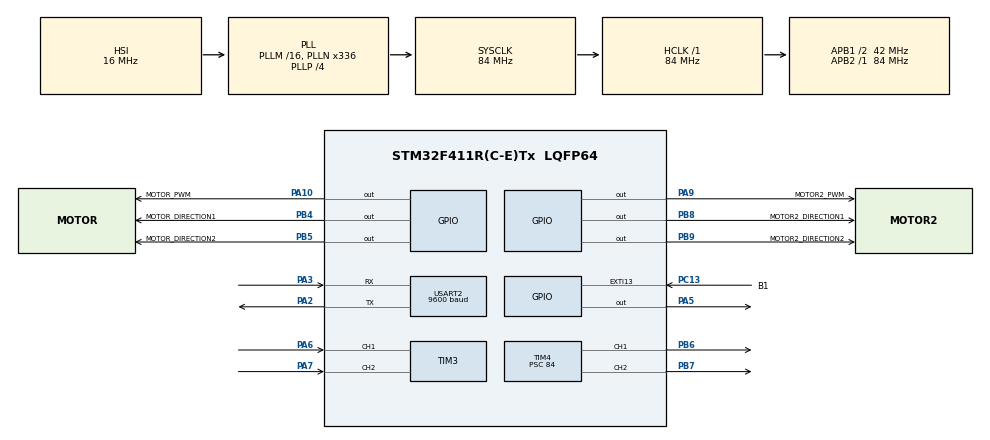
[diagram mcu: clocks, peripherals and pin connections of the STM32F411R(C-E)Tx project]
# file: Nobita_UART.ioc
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Dma.Request0=USART2_RX
Dma.USART2_RX.0.Direction=DMA_PERIPH_TO_MEMORY
Dma.USART2_RX.0.FIFOMode=DMA_FIFOMODE_DISABLE
Dma.USART2_RX.0.Instance=DMA1_Stream5
Dma.USART2_RX.0.MemDataAlignment=DMA_MDATAALIGN_BYTE
Dma.USART2_RX.0.MemInc=DMA_MINC_ENABLE
Dma.USART2_RX.0.Mode=DMA_CIRCULAR
Dma.USART2_RX.0.PeriphDataAlignment=DMA_PDATAALIGN_BYTE
Dma.USART2_RX.0.PeriphInc=DMA_PINC_DISABLE
Dma.USART2_RX.0.Priority=DMA_PRIORITY_LOW
Mcu.Family=STM32F4
Mcu.Name=STM32F411R(C-E)Tx
Mcu.Package=LQFP64
NVIC.DMA1_Stream5_IRQn=true\:0\:0\:false\:false\:true\:false\:true
NVIC.EXTI15_10_IRQn=true\:0\:0\:false\:false\:true\:true\:true
NVIC.PriorityGroup=NVIC_PRIORITYGROUP_4
NVIC.TIM1_UP_TIM10_IRQn=true\:0\:0\:false\:false\:true\:true\:true
NVIC.USART2_IRQn=true\:0\:0\:false\:false\:true\:true\:true
PA10.GPIO_Label=MOTOR_PWM
PA10.Signal=GPIO_Output
PA13.GPIO_Label=TMS
PA13.Signal=SYS_JTMS-SWDIO
PA14.GPIO_Label=TCK
PA14.Signal=SYS_JTCK-SWCLK
PA2.Mode=Asynchronous
PA2.Signal=USART2_TX
PA3.Mode=Asynchronous
PA3.Signal=USART2_RX
PA5.Signal=GPIO_Output
PA6.GPIO_PuPd=GPIO_PULLUP
PA6.Signal=S_TIM3_CH1
PA7.GPIO_PuPd=GPIO_PULLUP
PA7.Signal=S_TIM3_CH2
PA9.GPIO_Label=MOTOR2_PWM
PA9.Signal=GPIO_Output
PB3.GPIO_Label=SWO
PB3.Signal=SYS_JTDO-SWO
PB4.GPIO_Label=MOTOR_DIRECTION1
PB4.Signal=GPIO_Output
PB5.GPIO_Label=MOTOR_DIRECTION2
PB5.Signal=GPIO_Output
PB6.Signal=S_TIM4_CH1
PB7.Signal=S_TIM4_CH2
PB8.GPIO_Label=MOTOR2_DIRECTION1
PB8.Signal=GPIO_Output
PB9.GPIO_Label=MOTOR2_DIRECTION2
PB9.Signal=GPIO_Output
PC13-ANTI_TAMP.GPIO_Label=B1
PC13-ANTI_TAMP.Signal=GPXTI13
PC14-OSC32_IN.Mode=LSE-External-Oscillator
PC14-OSC32_IN.Signal=RCC_OSC32_IN
PC15-OSC32_OUT.Mode=LSE-External-Oscillator
PC15-OSC32_OUT.Signal=RCC_OSC32_OUT
PH0\ -\ OSC_IN.Mode=HSE-External-Clock-Source
PH0\ -\ OSC_IN.Signal=RCC_OSC_IN
PH1\ -\ OSC_OUT.Mode=HSE-External-Clock-Source
PH1\ -\ OSC_OUT.Signal=RCC_OSC_OUT
ProjectManager.HeapSize=0x200
ProjectManager.StackSize=0x400
ProjectManager.TargetToolchain=STM32CubeIDE
RCC.48MHZClocksFreq_Value=84000000
RCC.AHBFreq_Value=84000000
RCC.APB1CLKDivider=RCC_HCLK_DIV2
RCC.APB1Freq_Value=42000000
RCC.APB1TimFreq_Value=84000000
RCC.APB2Freq_Value=84000000
RCC.APB2TimFreq_Value=84000000
RCC.CortexFreq_Value=84000000
RCC.HCLKFreq_Value=84000000
RCC.HSE_VALUE=8000000
RCC.HSI_VALUE=16000000
RCC.PLLN=336
RCC.PLLP=RCC_PLLP_DIV4
RCC.SYSCLKFreq_VALUE=84000000
RCC.SYSCLKSource=RCC_SYSCLKSOURCE_PLLCLK
RCC.VCOOutputFreq_Value=336000000
SH.S_TIM3_CH1.0=TIM3_CH1,Encoder_Interface
SH.S_TIM3_CH2.0=TIM3_CH2,Encoder_Interface
SH.S_TIM4_CH1.0=TIM4_CH1,PWM Generation1 CH1
SH.S_TIM4_CH2.0=TIM4_CH2,PWM Generation2 CH2
TIM1.Period=1000
TIM1.Prescaler=84
TIM4.AutoReloadPreload=TIM_AUTORELOAD_PRELOAD_DISABLE
TIM4.Channel-PWM\ Generation1\ CH1=TIM_CHANNEL_1
TIM4.Channel-PWM\ Generation2\ CH2=TIM_CHANNEL_2
TIM4.Period=1000
TIM4.Prescaler=84
USART2.BaudRate=9600
USART2.VirtualMode=VM_ASYNC
VP_TIM1_VS_ClockSourceINT.Mode=Internal
board=custom

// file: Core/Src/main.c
/* USER CODE BEGIN Header */
/**
  ******************************************************************************
  * @file           : main.c
  * @brief          : Main program body
  ******************************************************************************
  * @attention
  *
  * <h2><center>&copy; Copyright (c) 2020 STMicroelectronics.
  * All rights reserved.</center></h2>
  *
  * This software component is licensed by ST under BSD 3-Clause license,
  * the "License"; You may not use this file except in compliance with the
  * License. You may obtain a copy of the License at:
  *                        opensource.org/licenses/BSD-3-Clause
  *
  ******************************************************************************
  */
/*
 * MOTOR_PWM = PA10 = D2
 * MOTOR_PWM2 = PA9 = D8
 * MOTOR_DIRECTION1 = PB4 = D5
 * MOTOR_DIRECTION2 = PB5 = D4
 * MOTOR2_DIRECTION1 = PB8 = D15
 * MOTOR2_DIRECTION2 = PB9 = D14
 * TIM4_CH1 = PB6 = D12
 * TIM4_CH2 = PB7 = D11
 * TIM2_CH1 = PA0 =
 * TIM2_CH2 = PA1 =
 */
/* USER CODE END Header */
#include "main.h"
#include <stdio.h>

TIM_HandleTypeDef htim1;
TIM_HandleTypeDef htim3;
TIM_HandleTypeDef htim4;

UART_HandleTypeDef huart2;
DMA_HandleTypeDef hdma_usart2_rx;

/* USER CODE BEGIN PV */
uint8_t direction_l = 1;
uint8_t direction_r = 0;

/* USER CODE END PV */

void SystemClock_Config(void);
static void MX_GPIO_Init(void);
static void MX_DMA_Init(void);
static void MX_TIM4_Init(void);
static void MX_TIM3_Init(void);
static void MX_USART2_UART_Init(void);
static void MX_TIM1_Init(void);

/* USER CODE BEGIN 0 */
uint8_t myTxData[4] = "OK\r\n";
uint8_t myRxData[16];
uint8_t testRxData[27]; // 21+\r+\n
//int RxSize = sizeof(testRxData) / sizeof(testRxData[0]);
int i = 0;
char buffer[50];
float wl,wr,dl,dr;
float _wl,_wr,_dl,_dr;
float testval = 599;
void setSpeed(){
	//HAL_GPIO_TogglePin(GPIO)
	HAL_GPIO_WritePin(MOTOR_DIRECTION1_GPIO_Port,MOTOR_DIRECTION1_Pin,_dl);
	HAL_GPIO_WritePin(MOTOR_DIRECTION2_GPIO_Port,MOTOR_DIRECTION2_Pin,!_dl);
	//__HAL_TIM_SET_COMPARE(&htim4, TIM_CHANNEL_1, wl*1000.0);
	//HAL_GPIO_WritePin(MOTOR_PWM_GPIO_Port,MOTOR2_PWM_Pin,direction_r);
	HAL_GPIO_WritePin(MOTOR2_DIRECTION1_GPIO_Port,MOTOR2_DIRECTION1_Pin,_dr);
	HAL_GPIO_WritePin(MOTOR2_DIRECTION2_GPIO_Port,MOTOR2_DIRECTION2_Pin,!_dr);
	//__HAL_TIM_SET_COMPARE(&htim4, TIM_CHANNEL_2, wl*1000.0);
	//MX_TIM4_Init();
	//HAL_Delay(1);
	htim4.Instance->CCR1=_wr*1000.0;
	htim4.Instance->CCR2=_wl*1000.0;

	HAL_TIM_PWM_Start(&htim4, TIM_CHANNEL_1);
	HAL_TIM_PWM_Start(&htim4, TIM_CHANNEL_2);
	//HAL_Delay(1);
//	__HAL_TIM_SET_AUTORELOAD(&htim4, wl*1000.0);

}
/* USER CODE END 0 */

int main(void)
{

  /* MCU Configuration--------------------------------------------------------*/

  /* Reset of all peripherals, Initializes the Flash interface and the Systick. */
  HAL_Init();

  /* Configure the system clock */
  SystemClock_Config();

  /* Initialize all configured peripherals */
  MX_GPIO_Init();
  MX_DMA_Init();
  MX_TIM4_Init();
  MX_TIM3_Init();
  MX_USART2_UART_Init();
  MX_TIM1_Init();
  /* USER CODE BEGIN 2 */
  HAL_UART_Receive_DMA(&huart2, testRxData, 27);
  HAL_TIM_PWM_Start(&htim4, TIM_CHANNEL_1);
  HAL_TIM_PWM_Start(&htim4, TIM_CHANNEL_2);
  /* USER CODE END 2 */

  /* Infinite loop */
  while (1)
  {

    /* USER CODE BEGIN 3 */
	  //HAL_UART_Transmit(&huart2, myTxData, 13, 100);
	  HAL_GPIO_TogglePin(GPIOA, GPIO_PIN_5);

	  HAL_Delay(1000);
  }
  /* USER CODE END 3 */
}

void SystemClock_Config(void)
{
  RCC_OscInitTypeDef RCC_OscInitStruct = {0};
  RCC_ClkInitTypeDef RCC_ClkInitStruct = {0};

  /** Configure the main internal regulator output voltage
  */
  __HAL_RCC_PWR_CLK_ENABLE();
  __HAL_PWR_VOLTAGESCALING_CONFIG(PWR_REGULATOR_VOLTAGE_SCALE1);
  /** Initializes the RCC Oscillators according to the specified parameters
  * in the RCC_OscInitTypeDef structure.
  */
  RCC_OscInitStruct.OscillatorType = RCC_OSCILLATORTYPE_HSI;
  RCC_OscInitStruct.HSIState = RCC_HSI_ON;
  RCC_OscInitStruct.HSICalibrationValue = RCC_HSICALIBRATION_DEFAULT;
  RCC_OscInitStruct.PLL.PLLState = RCC_PLL_ON;
  RCC_OscInitStruct.PLL.PLLSource = RCC_PLLSOURCE_HSI;
  RCC_OscInitStruct.PLL.PLLM = 16;
  RCC_OscInitStruct.PLL.PLLN = 336;
  RCC_OscInitStruct.PLL.PLLP = RCC_PLLP_DIV4;
  RCC_OscInitStruct.PLL.PLLQ = 4;
  if (HAL_RCC_OscConfig(&RCC_OscInitStruct) != HAL_OK)
  {
    Error_Handler();
  }
  /** Initializes the CPU, AHB and APB buses clocks
  */
  RCC_ClkInitStruct.ClockType = RCC_CLOCKTYPE_HCLK|RCC_CLOCKTYPE_SYSCLK
                              |RCC_CLOCKTYPE_PCLK1|RCC_CLOCKTYPE_PCLK2;
  RCC_ClkInitStruct.SYSCLKSource = RCC_SYSCLKSOURCE_PLLCLK;
  RCC_ClkInitStruct.AHBCLKDivider = RCC_SYSCLK_DIV1;
  RCC_ClkInitStruct.APB1CLKDivider = RCC_HCLK_DIV2;
  RCC_ClkInitStruct.APB2CLKDivider = RCC_HCLK_DIV1;

  if (HAL_RCC_ClockConfig(&RCC_ClkInitStruct, FLASH_LATENCY_2) != HAL_OK)
  {
    Error_Handler();
  }
}

static void MX_TIM1_Init(void)
{

  TIM_ClockConfigTypeDef sClockSourceConfig = {0};
  TIM_MasterConfigTypeDef sMasterConfig = {0};

  htim1.Instance = TIM1;
  htim1.Init.Prescaler = 84;
  htim1.Init.CounterMode = TIM_COUNTERMODE_UP;
  htim1.Init.Period = 1000;
  htim1.Init.ClockDivision = TIM_CLOCKDIVISION_DIV1;
  htim1.Init.RepetitionCounter = 0;
  htim1.Init.AutoReloadPreload = TIM_AUTORELOAD_PRELOAD_DISABLE;
  if (HAL_TIM_Base_Init(&htim1) != HAL_OK)
  {
    Error_Handler();
  }
  sClockSourceConfig.ClockSource = TIM_CLOCKSOURCE_INTERNAL;
  if (HAL_TIM_ConfigClockSource(&htim1, &sClockSourceConfig) != HAL_OK)
  {
    Error_Handler();
  }
  sMasterConfig.MasterOutputTrigger = TIM_TRGO_RESET;
  sMasterConfig.MasterSlaveMode = TIM_MASTERSLAVEMODE_DISABLE;
  if (HAL_TIMEx_MasterConfigSynchronization(&htim1, &sMasterConfig) != HAL_OK)
  {
    Error_Handler();
  }

}

static void MX_TIM3_Init(void)
{

  TIM_Encoder_InitTypeDef sConfig = {0};
  TIM_MasterConfigTypeDef sMasterConfig = {0};

  htim3.Instance = TIM3;
  htim3.Init.Prescaler = 0;
  htim3.Init.CounterMode = TIM_COUNTERMODE_UP;
  htim3.Init.Period = 65535;
  htim3.Init.ClockDivision = TIM_CLOCKDIVISION_DIV1;
  htim3.Init.AutoReloadPreload = TIM_AUTORELOAD_PRELOAD_DISABLE;
  sConfig.EncoderMode = TIM_ENCODERMODE_TI1;
  sConfig.IC1Polarity = TIM_ICPOLARITY_RISING;
  sConfig.IC1Selection = TIM_ICSELECTION_DIRECTTI;
  sConfig.IC1Prescaler = TIM_ICPSC_DIV1;
  sConfig.IC1Filter = 0;
  sConfig.IC2Polarity = TIM_ICPOLARITY_RISING;
  sConfig.IC2Selection = TIM_ICSELECTION_DIRECTTI;
  sConfig.IC2Prescaler = TIM_ICPSC_DIV1;
  sConfig.IC2Filter = 0;
  if (HAL_TIM_Encoder_Init(&htim3, &sConfig) != HAL_OK)
  {
    Error_Handler();
  }
  sMasterConfig.MasterOutputTrigger = TIM_TRGO_RESET;
  sMasterConfig.MasterSlaveMode = TIM_MASTERSLAVEMODE_DISABLE;
  if (HAL_TIMEx_MasterConfigSynchronization(&htim3, &sMasterConfig) != HAL_OK)
  {
    Error_Handler();
  }

}

static void MX_TIM4_Init(void)
{

  TIM_MasterConfigTypeDef sMasterConfig = {0};
  TIM_OC_InitTypeDef sConfigOC = {0};

  htim4.Instance = TIM4;
  htim4.Init.Prescaler = 84;
  htim4.Init.CounterMode = TIM_COUNTERMODE_UP;
  htim4.Init.Period = 1000;
  htim4.Init.ClockDivision = TIM_CLOCKDIVISION_DIV1;
  htim4.Init.AutoReloadPreload = TIM_AUTORELOAD_PRELOAD_DISABLE;
  if (HAL_TIM_PWM_Init(&htim4) != HAL_OK)
  {
    Error_Handler();
  }
  sMasterConfig.MasterOutputTrigger = TIM_TRGO_RESET;
  sMasterConfig.MasterSlaveMode = TIM_MASTERSLAVEMODE_DISABLE;
  if (HAL_TIMEx_MasterConfigSynchronization(&htim4, &sMasterConfig) != HAL_OK)
  {
    Error_Handler();
  }
  sConfigOC.OCMode = TIM_OCMODE_PWM1;
  sConfigOC.Pulse = 0;
  sConfigOC.OCPolarity = TIM_OCPOLARITY_HIGH;
  sConfigOC.OCFastMode = TIM_OCFAST_DISABLE;
  if (HAL_TIM_PWM_ConfigChannel(&htim4, &sConfigOC, TIM_CHANNEL_1) != HAL_OK)
  {
    Error_Handler();
  }
  if (HAL_TIM_PWM_ConfigChannel(&htim4, &sConfigOC, TIM_CHANNEL_2) != HAL_OK)
  {
    Error_Handler();
  }
  HAL_TIM_MspPostInit(&htim4);

}

static void MX_USART2_UART_Init(void)
{

  huart2.Instance = USART2;
  huart2.Init.BaudRate = 9600;
  huart2.Init.WordLength = UART_WORDLENGTH_8B;
  huart2.Init.StopBits = UART_STOPBITS_1;
  huart2.Init.Parity = UART_PARITY_NONE;
  huart2.Init.Mode = UART_MODE_TX_RX;
  huart2.Init.HwFlowCtl = UART_HWCONTROL_NONE;
  huart2.Init.OverSampling = UART_OVERSAMPLING_16;
  if (HAL_UART_Init(&huart2) != HAL_OK)
  {
    Error_Handler();
  }

}

static void MX_DMA_Init(void)
{

  /* DMA controller clock enable */
  __HAL_RCC_DMA1_CLK_ENABLE();

  /* DMA interrupt init */
  /* DMA1_Stream5_IRQn interrupt configuration */
  HAL_NVIC_SetPriority(DMA1_Stream5_IRQn, 0, 0);
  HAL_NVIC_EnableIRQ(DMA1_Stream5_IRQn);

}

static void MX_GPIO_Init(void)
{
  GPIO_InitTypeDef GPIO_InitStruct = {0};

  /* GPIO Ports Clock Enable */
  __HAL_RCC_GPIOC_CLK_ENABLE();
  __HAL_RCC_GPIOH_CLK_ENABLE();
  __HAL_RCC_GPIOA_CLK_ENABLE();
  __HAL_RCC_GPIOB_CLK_ENABLE();

  /*Configure GPIO pin Output Level */
  HAL_GPIO_WritePin(GPIOA, GPIO_PIN_5|MOTOR2_PWM_Pin|MOTOR_PWM_Pin, GPIO_PIN_RESET);

  /*Configure GPIO pin Output Level */
  HAL_GPIO_WritePin(GPIOB, MOTOR_DIRECTION1_Pin|MOTOR_DIRECTION2_Pin|MOTOR2_DIRECTION1_Pin|MOTOR2_DIRECTION2_Pin, GPIO_PIN_RESET);

  /*Configure GPIO pin : B1_Pin */
  GPIO_InitStruct.Pin = B1_Pin;
  GPIO_InitStruct.Mode = GPIO_MODE_IT_RISING;
  GPIO_InitStruct.Pull = GPIO_NOPULL;
  HAL_GPIO_Init(B1_GPIO_Port, &GPIO_InitStruct);

  /*Configure GPIO pins : PA5 MOTOR2_PWM_Pin MOTOR_PWM_Pin */
  GPIO_InitStruct.Pin = GPIO_PIN_5|MOTOR2_PWM_Pin|MOTOR_PWM_Pin;
  GPIO_InitStruct.Mode = GPIO_MODE_OUTPUT_PP;
  GPIO_InitStruct.Pull = GPIO_NOPULL;
  GPIO_InitStruct.Speed = GPIO_SPEED_FREQ_LOW;
  HAL_GPIO_Init(GPIOA, &GPIO_InitStruct);

  /*Configure GPIO pins : MOTOR_DIRECTION1_Pin MOTOR_DIRECTION2_Pin MOTOR2_DIRECTION1_Pin MOTOR2_DIRECTION2_Pin */
  GPIO_InitStruct.Pin = MOTOR_DIRECTION1_Pin|MOTOR_DIRECTION2_Pin|MOTOR2_DIRECTION1_Pin|MOTOR2_DIRECTION2_Pin;
  GPIO_InitStruct.Mode = GPIO_MODE_OUTPUT_PP;
  GPIO_InitStruct.Pull = GPIO_NOPULL;
  GPIO_InitStruct.Speed = GPIO_SPEED_FREQ_LOW;
  HAL_GPIO_Init(GPIOB, &GPIO_InitStruct);

  /* EXTI interrupt init*/
  HAL_NVIC_SetPriority(EXTI15_10_IRQn, 0, 0);
  HAL_NVIC_EnableIRQ(EXTI15_10_IRQn);

}

/* USER CODE BEGIN 4 */
void HAL_UART_RxCpltCallback(UART_HandleTypeDef *huart)
{
  /* Prevent unused argument(s) compilation warning */
  UNUSED(huart);
  /* NOTE: This function should not be modified, when the callback is needed,
           the HAL_UART_RxCpltCallback could be implemented in the user file
   */

  //set variables
  sscanf(testRxData,"%f,%f,%f,%f",&wl,&wr,&dl,&dr);
  sprintf(buffer, "%f,%f,%.1f,%.1f",wl,wr,dl,dr);
  _wl = wl;
  _wr = wr;
  _dl = dl;
  _dr = dr;
  HAL_UART_Transmit(&huart2, buffer, 27, 100);
  setSpeed();
/*
  HAL_GPIO_WritePin(MOTOR_DIRECTION1_GPIO_Port,MOTOR_DIRECTION1_Pin,dl);
  HAL_GPIO_WritePin(MOTOR_DIRECTION2_GPIO_Port,MOTOR_DIRECTION2_Pin,!dl);
  __HAL_TIM_SET_COMPARE(&htim4, TIM_CHANNEL_1, wl);
  //HAL_GPIO_WritePin(MOTOR_PWM_GPIO_Port,MOTOR2_PWM_Pin,direction_r);
  HAL_GPIO_WritePin(MOTOR2_DIRECTION1_GPIO_Port,MOTOR2_DIRECTION1_Pin,dr);
  HAL_GPIO_WritePin(MOTOR2_DIRECTION2_GPIO_Port,MOTOR2_DIRECTION2_Pin,!dr);
  __HAL_TIM_SET_COMPARE(&htim4, TIM_CHANNEL_2, wr);
*/

}
/* USER CODE END 4 */

void Error_Handler(void)
{
}

/************************ (C) COPYRIGHT STMicroelectronics *****END OF FILE****/
